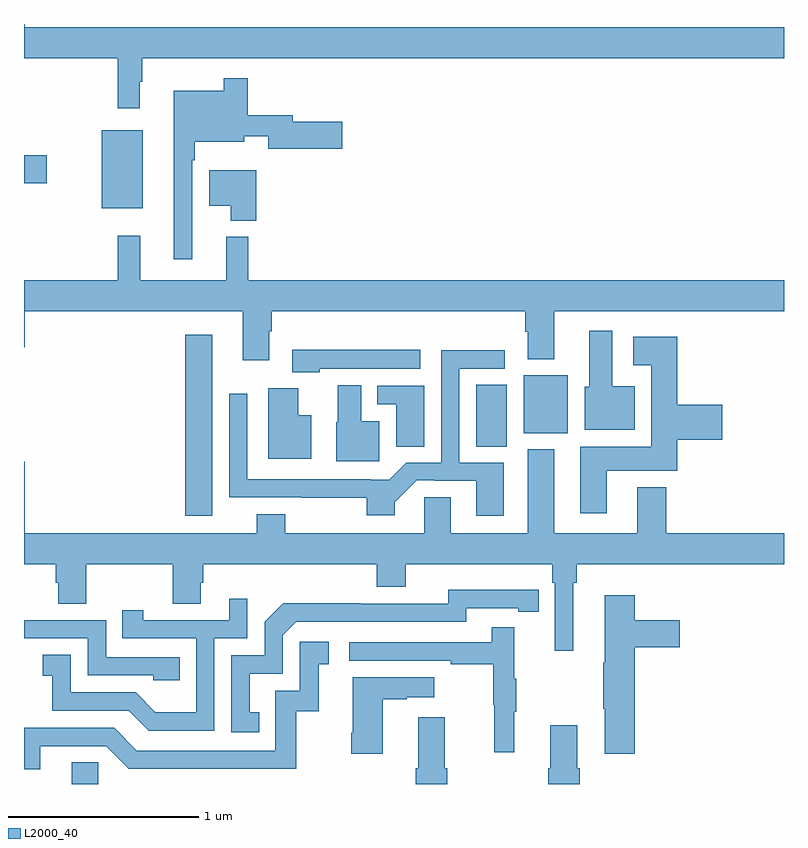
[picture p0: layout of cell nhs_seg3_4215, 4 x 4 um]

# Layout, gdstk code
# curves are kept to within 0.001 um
import gdstk
lib = gdstk.Library(unit=1e-6, precision=1e-09)
def R(c, l, rs):  # rectangles x0, y0, x1, y1
    for r in rs: c.add(gdstk.rectangle(r[:2], r[2:], *l))
def P(c, l, *ps):  # polygons
    for p in ps: c.add(gdstk.Polygon(p, *l))
L2000_40 = (2000, 40)

nhs_seg3_4215 = lib.new_cell('nhs_seg3_4215')
R(nhs_seg3_4215, L2000_40, [(333.251,726.4,333.39,726.515), (333.848,727.812,333.991,728.764), (335.381,728.176,335.542,728.501), (335.63,728.246,335.863,728.551), (333.41,729.431,333.625,729.841), (333,729.563,333.121,729.71)])
P(nhs_seg3_4215, L2000_40, [(333.61,730.097),(333.622,730.097),(333.622,730.22),(337,730.22),(337,730.384),(333.004,730.384),(333.004,730.4),(333,730.4),(333,730.22),(333.493,730.22),(333.493,729.957),(333.61,729.957)],
  [(333.885,729.683),(333.898,729.683),(333.898,729.779),(334.159,729.779),(334.159,729.809),(334.286,729.809),(334.286,729.743),(334.675,729.743),(334.675,729.885),(334.414,729.885),(334.414,729.919),(334.178,729.919),(334.178,730.114),(334.05,730.114),(334.05,730.048),(333.788,730.048),(333.788,729.162),(333.885,729.162)],
  [(334.223,729.631),(333.974,729.631),(333.974,729.443),(334.088,729.443),(334.088,729.365),(334.223,729.365)],
  [(334.291,728.782),(334.304,728.782),(334.304,728.888),(335.639,728.888),(335.639,728.779),(335.651,728.779),(335.651,728.636),(335.791,728.636),(335.791,728.888),(337,728.888),(337,729.052),(334.181,729.052),(334.181,729.28),(334.064,729.28),(334.064,729.052),(333.611,729.052),(333.611,729.286),(333.493,729.286),(333.493,729.052),(333,729.052),(333,728.7),(333.004,728.7),(333.004,728.888),(334.151,728.888),(334.151,728.631),(334.291,728.631)],
  [(336.214,728.494),(336.097,728.494),(336.097,728.785),(335.975,728.785),(335.975,728.49),(335.951,728.49),(335.951,728.264),(336.214,728.264)],
  [(336.067,728.048),(336.437,728.048),(336.437,728.213),(336.676,728.213),(336.676,728.396),(336.437,728.396),(336.437,728.755),(336.207,728.755),(336.207,728.603),(336.302,728.603),(336.302,728.176),(335.927,728.176),(335.927,727.824),(336.067,727.824)],
  [(334.557,728.585),(335.086,728.585),(335.086,728.686),(334.413,728.686),(334.413,728.567),(334.557,728.567)],
  [(335.524,728.091),(335.292,728.091),(335.292,728.586),(335.53,728.586),(335.53,728.684),(335.196,728.684),(335.196,728.091),(335.012,728.091),(334.922,728.001),(334.826,728.001),(334.826,728.004),(334.177,728.004),(334.176,728.455),(334.08,728.455),(334.08,727.908),(334.804,727.907),(334.804,727.814),(334.951,727.814),(334.951,727.882),(335.067,727.998),(335.161,727.998),(335.161,727.995),(335.381,727.995),(335.381,727.812),(335.524,727.812)],
  [(334.87,728.308),(334.774,728.308),(334.774,728.5),(334.652,728.5),(334.652,728.304),(334.643,728.304),(334.643,728.099),(334.87,728.099)],
  [(335.107,728.496),(334.86,728.496),(334.86,728.4),(334.958,728.4),(334.958,728.176),(335.107,728.176)],
  [(334.513,728.341),(334.444,728.341),(334.444,728.482),(334.286,728.482),(334.286,728.111),(334.513,728.111)],
  [(335.89,727.46),(335.909,727.46),(335.909,727.556),(337,727.556),(337,727.72),(336.38,727.72),(336.38,727.963),(336.227,727.963),(336.227,727.72),(335.791,727.72),(335.791,728.161),(335.651,728.161),(335.651,727.72),(335.245,727.72),(335.245,727.91),(335.106,727.91),(335.106,727.72),(334.374,727.72),(334.374,727.819),(334.226,727.819),(334.226,727.72),(333.004,727.72),(333.004,728.095),(333,728.095),(333,727.556),(333.167,727.556),(333.167,727.458),(333.179,727.458),(333.179,727.348),(333.327,727.348),(333.327,727.556),(333.784,727.556),(333.784,727.348),(333.931,727.348),(333.931,727.458),(333.944,727.458),(333.944,727.556),(334.856,727.556),(334.856,727.439),(335.008,727.439),(335.008,727.556),(335.78,727.556),(335.78,727.46),(335.793,727.46),(335.793,727.101),(335.89,727.101)],
  [(334.238,726.777),(334.189,726.777),(334.189,726.981),(334.362,726.981),(334.362,727.182),(334.434,727.254),(335.328,727.254),(335.328,727.326),(335.6,727.326),(335.6,727.306),(335.708,727.306),(335.708,727.422),(335.232,727.423),(335.232,727.35),(334.772,727.35),(334.772,727.352),(334.364,727.352),(334.266,727.254),(334.266,727.077),(334.092,727.077),(334.092,726.672),(334.238,726.672)],
  [(336.215,727.121),(336.451,727.121),(336.451,727.263),(336.215,727.263),(336.215,727.393),(336.056,727.393),(336.056,727.037),(336.049,727.037),(336.049,726.796),(336.056,726.796),(336.056,726.558),(336.215,726.558)],
  [(334.002,727.167),(334.176,727.167),(334.176,727.375),(334.079,727.375),(334.079,727.263),(333.628,727.263),(333.628,727.315),(333.517,727.315),(333.517,727.167),(333.906,727.167),(333.906,726.778),(333.692,726.778),(333.588,726.882),(333.246,726.882),(333.246,727.081),(333.099,727.081),(333.099,726.971),(333.148,726.971),(333.148,726.786),(333.551,726.786),(333.656,726.681),(334.002,726.681)],
  [(333.821,727.068),(333.432,727.068),(333.432,727.263),(333,727.263),(333,727.167),(333.336,727.167),(333.336,726.972),(333.681,726.972),(333.681,726.945),(333.821,726.945)],
  [(335.579,726.779),(335.59,726.779),(335.59,726.953),(335.579,726.953),(335.579,727.225),(335.461,727.225),(335.461,727.146),(334.713,727.146),(334.713,727.05),(335.245,727.05),(335.245,727.03),(335.469,727.03),(335.469,726.816),(335.476,726.816),(335.476,726.567),(335.579,726.567)],
  [(333.085,726.6),(333.432,726.6),(333.552,726.48),(334.432,726.48),(334.432,726.783),(334.55,726.783),(334.55,727.029),(334.603,727.029),(334.603,727.15),(334.452,727.15),(334.452,726.891),(334.323,726.891),(334.323,726.576),(333.594,726.576),(333.474,726.696),(333,726.696),(333,726.477),(333.085,726.477)],
  [(334.888,726.847),(335.015,726.847),(335.015,726.857),(335.158,726.857),(335.158,726.961),(334.73,726.961),(334.73,726.67),(334.723,726.67),(334.723,726.558),(334.888,726.558)],
  [(335.228,726.484),(335.215,726.484),(335.215,726.751),(335.075,726.751),(335.075,726.484),(335.063,726.484),(335.063,726.4),(335.228,726.4)],
  [(335.924,726.484),(335.911,726.484),(335.911,726.709),(335.771,726.709),(335.771,726.484),(335.759,726.484),(335.759,726.4),(335.924,726.4)])

lib.write_gds('nhs_seg3_4215.gds')
